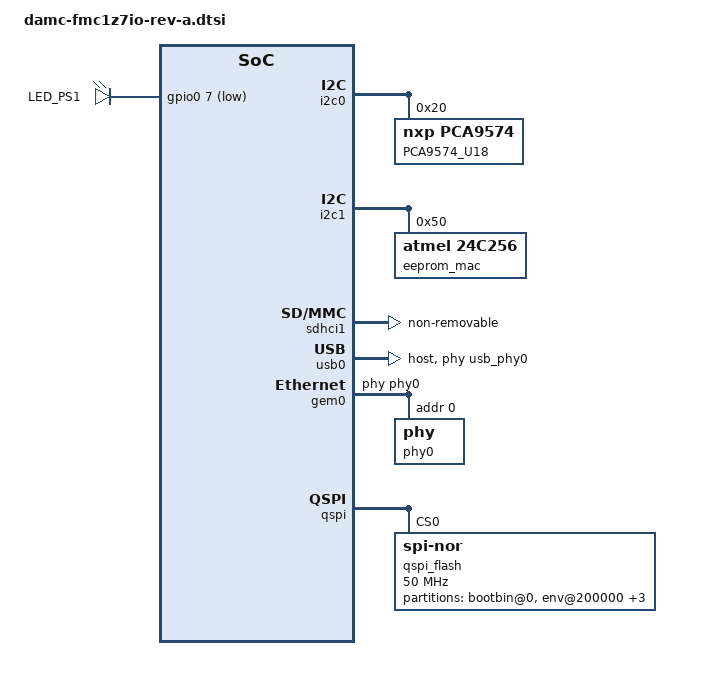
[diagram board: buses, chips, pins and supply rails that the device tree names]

#include "dt-bindings/gpio/gpio.h"
#include "dt-bindings/phy/phy.h"
#include "dt-bindings/dma/axi-dmac.h"
#include "pcie-mem.dtsi"

/ {
    chosen {
        xlnx,eeprom = &eeprom_mac;
    };

    gpio-leds {
        compatible = "gpio-leds";
        // MIO7
        led-ps1 {
            label = "LED_PS1";
            linux,default-trigger = "heartbeat";
            gpios = <&gpio0 7 GPIO_ACTIVE_LOW>;
        };
    };

    usb_phy0:phy0 {
        compatible="ulpi-phy";
        #phy-cells = <0>;
        reg = <0xe0002000 0x1000>;
        view-port=<0x170>;
        drv-vbus;
    };
};

&i2c0 {
	PCA9574_U18: pca9574@20 {
		compatible = "nxp,pca9574";
        reg = <0x20>;
        gpio-controller;
        #gpio-cells = <2>;
    };
};

&i2c1 {
    eeprom_mac: eeprom@50 {
        compatible = "atmel,24c256";
        reg = <0x50>;
        pagesize = <64>;
    };
};

&sdhci0 {
    no-1-8-v;
};

&sdhci1 {
    non-removable;
    max-frequency = <50000000>;
};

&usb0 {
    dr_mode = "host";
    usb-phy = <&usb_phy0>;
};

&gem0 {
    phy-handle = <&phy0>;
	phy0: phy@0 {
	    reg = <0x0>;
            device_type = "ethernet-phy";
            marvell,reg-init =
                // Set Fiber Auto-Negotiation Advertisement Register to 1000BASE-X Full-Duplex *only*
                <1 4 0x0000 0x0020>,
                // Set PHY Mode to "RGMII --> 1000BASE-X"
                <18 20 0x0000 0x0002>,
                // Reset PHY
                <18 20 0x7fff 0x8000>;
	};
};

&eeprom_mac  {
	#address-cells = <1>;
	#size-cells = <1>;

	eth_mac: eth_mac@7f7a {
		reg = <0x7f7a 0x6>;
	};
};

&qspi {
	qspi_flash: flash@0 {
        reg = <0x0>;
		compatible = "jedec,spi-nor";
        spi-max-frequency = <50000000>;
        spi-tx-bus-width = <1>;
		spi-rx-bus-width = <4>;
        #address-cells = <1>;
        #size-cells = <1>;
        partitions {
            compatible = "fixed-partitions";
            #address-cells = <1>;
            #size-cells = <1>;
            bootbin@0 {
                /* 2M for FSBL + Uboot */
                reg = <0x00000000 0x00200000>;
            };
            env@200000 {
                /* 256k for Uboot env */
                reg = <0x00200000 0x00040000>;
            };
            dts@240000 {
                /* 256k for device tree */
                reg = <0x00240000 0x00040000>;
            };
            uimage@280000 {
                /* 8M for kernel */
                reg = <0x00280000 0x00800000>;
            };
            recovery@a80000 {
                /* 21.5M remaining for recovery-rootfs */
                reg = <0x00a00000 0x01580000>;
            };
        };
    };
};
